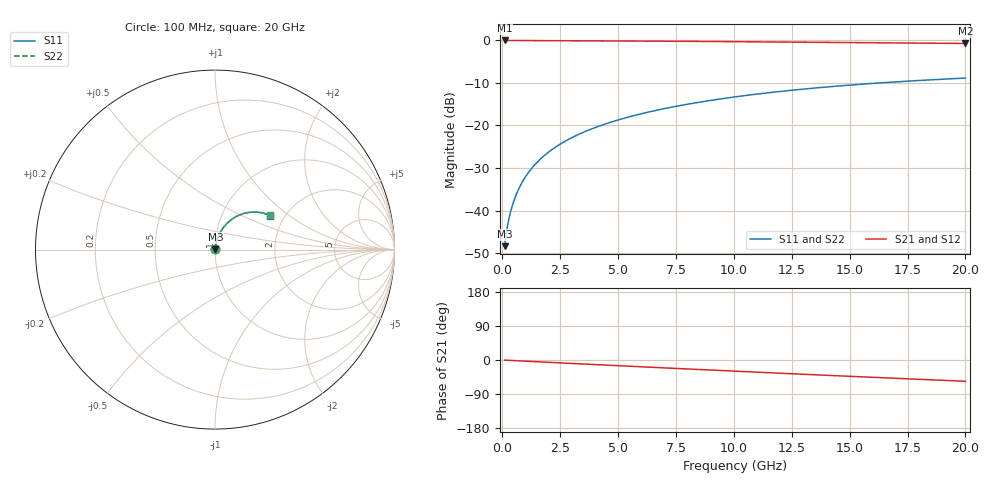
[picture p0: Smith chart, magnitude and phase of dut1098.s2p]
! Touchstone file exported from HFSS 2026.1.0
!  File:  C:/ffzhzh/LocalFiles/Ansys_Project_Files/temp_train_BSMRDL_1098_1783174741_55132.aedt
!  Generated:  10:20:20 PM Jul  4, 2026
!  Design:  BSMRDL
!  Project:  temp_train_BSMRDL_1098_1783174741_55132
! Variables:
!  h_bsmrdl = 5.66um
!  h_ox = 20um
!  h_rdl = 5um
!  h_sub = 80um
!  h_tmrdl = 5um
!  h_tsv = 80um
!  h_via = 3um
!  l_bsmrdl = 931.73um
!  l_sub = 1331.73um
!  l_tmrdl = 200um
!  m_sub = 200um
!  pitch = 44.76um
!  r_tsv = 6um
!  s_tmrdl = 10um
!  w_bsmrdl = 24.52um
!  w_sub = 500um
!  w_tmrdl = 12um
!  x_tsv_center1 = 206um
!  x_tsv_center2 = 1162.25um
!  x_tsv_center3 = 1374.25um
!  x_tsv_center4 = 2330.5um
!  x_tsv_center5 = 2542.5um
!  x_tsv_center6 = 3498.75um
# GHz S MA R 50.000000
! Terminal data exported
! Port[1] = BSM_RDL1_1_T1
! Port[2] = BSM_RDL1_1_T2
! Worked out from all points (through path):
!   200 points, 100 MHz to 20 GHz, reference 50 ohm
!   highest |S21| = -0.02 dB at 100 MHz (marker M1); lowest = -0.7 dB at 20 GHz (marker M2)
!   group delay of S21, straight-line fit = 7.79 ps
!   lowest |S11| = -48.4 dB at 100 MHz (marker M3), VSWR 1.01, Z = 50.3 + j0.278 ohm
!   |S11| at or under -10 dB: start of sweep to 16.31 GHz
!   |S22| runs from -48.4 to -8.9 dB; largest |S21 - S12| = 5e-15
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0.1  0.003812 46.4  0.9974 -0.3  0.9974 -0.3  0.003812 46.4
! Gamma 0 0 0 0
! Port Impedance 50 0 50 0
0.2  0.006059 61.2  0.9971 -0.6  0.9971 -0.6  0.006059 61.2
0.3  0.008357 67.6  0.9969 -0.9  0.9969 -0.9  0.008356 67.6
0.4  0.01067 71.4  0.9968 -1.3  0.9968 -1.3  0.01067 71.4
0.5  0.013 73.8  0.9967 -1.6  0.9967 -1.6  0.013 73.8
0.6  0.01536 75.5  0.9966 -1.9  0.9966 -1.9  0.01536 75.5
0.8  0.02011 77.5  0.9963 -2.5  0.9963 -2.5  0.02011 77.5
1.1  0.02729 78.7  0.9959 -3.4  0.9959 -3.4  0.02729 78.7
1.5  0.03683 79.0  0.9953 -4.6  0.9953 -4.6  0.03683 79.0
1.8  0.04395 78.7  0.9947 -5.5  0.9947 -5.5  0.04395 78.7
2.1  0.051 78.2  0.994 -6.4  0.994 -6.4  0.051 78.3
2.7  0.06492 77.0  0.9925 -8.2  0.9925 -8.2  0.06492 77.0
3.5  0.08307 75.0  0.9902 -10.6  0.9902 -10.6  0.08307 75.0
4.2  0.09859 73.2  0.988 -12.7  0.988 -12.7  0.09859 73.2
5  0.1159 71.1  0.9854 -15.0  0.9854 -15.0  0.1159 71.1
5.9  0.135 68.7  0.9822 -17.6  0.9822 -17.6  0.135 68.7
6.8  0.1536 66.3  0.9789 -20.3  0.9789 -20.3  0.1536 66.3
8.3  0.1835 62.3  0.9729 -24.5  0.9729 -24.5  0.1835 62.3
10.1  0.2175 57.4  0.9651 -29.6  0.9651 -29.6  0.2175 57.6
13.4  0.2737 48.7  0.9497 -38.7  0.9497 -38.7  0.2737 48.9
16.7  0.3214 40.1  0.9341 -47.6  0.9341 -47.6  0.3213 40.3
20  0.3601 31.8  0.9196 -56.1  0.9196 -56.1  0.36 32.0
